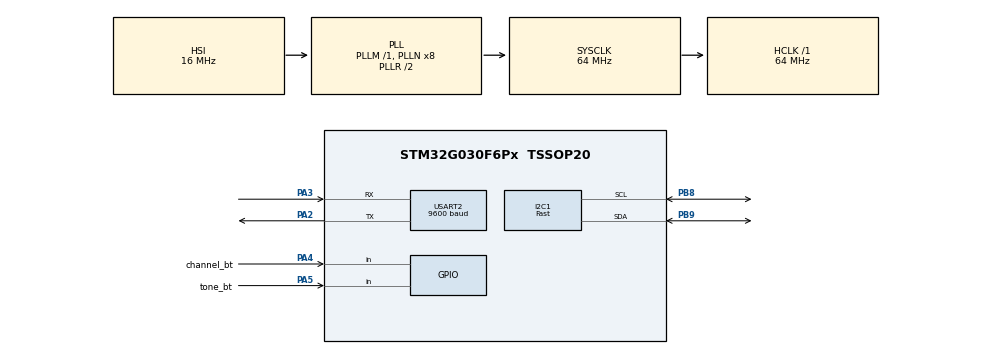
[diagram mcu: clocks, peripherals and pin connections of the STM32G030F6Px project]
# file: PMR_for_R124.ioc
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Dma.I2C1_TX.1.Direction=DMA_MEMORY_TO_PERIPH
Dma.I2C1_TX.1.EventEnable=DISABLE
Dma.I2C1_TX.1.Instance=DMA1_Channel2
Dma.I2C1_TX.1.MemDataAlignment=DMA_MDATAALIGN_BYTE
Dma.I2C1_TX.1.MemInc=DMA_MINC_ENABLE
Dma.I2C1_TX.1.Mode=DMA_NORMAL
Dma.I2C1_TX.1.PeriphDataAlignment=DMA_PDATAALIGN_BYTE
Dma.I2C1_TX.1.PeriphInc=DMA_PINC_DISABLE
Dma.I2C1_TX.1.Polarity=HAL_DMAMUX_REQ_GEN_RISING
Dma.I2C1_TX.1.Priority=DMA_PRIORITY_LOW
Dma.I2C1_TX.1.RequestNumber=1
Dma.I2C1_TX.1.SignalID=NONE
Dma.I2C1_TX.1.SyncEnable=DISABLE
Dma.I2C1_TX.1.SyncPolarity=HAL_DMAMUX_SYNC_NO_EVENT
Dma.I2C1_TX.1.SyncRequestNumber=1
Dma.I2C1_TX.1.SyncSignalID=NONE
Dma.Request0=USART2_TX
Dma.Request1=I2C1_TX
Dma.USART2_TX.0.Direction=DMA_MEMORY_TO_PERIPH
Dma.USART2_TX.0.EventEnable=DISABLE
Dma.USART2_TX.0.Instance=DMA1_Channel1
Dma.USART2_TX.0.MemDataAlignment=DMA_MDATAALIGN_BYTE
Dma.USART2_TX.0.MemInc=DMA_MINC_ENABLE
Dma.USART2_TX.0.Mode=DMA_NORMAL
Dma.USART2_TX.0.PeriphDataAlignment=DMA_PDATAALIGN_BYTE
Dma.USART2_TX.0.PeriphInc=DMA_PINC_DISABLE
Dma.USART2_TX.0.Polarity=HAL_DMAMUX_REQ_GEN_RISING
Dma.USART2_TX.0.Priority=DMA_PRIORITY_LOW
Dma.USART2_TX.0.RequestNumber=1
Dma.USART2_TX.0.SignalID=NONE
Dma.USART2_TX.0.SyncEnable=DISABLE
Dma.USART2_TX.0.SyncPolarity=HAL_DMAMUX_SYNC_NO_EVENT
Dma.USART2_TX.0.SyncRequestNumber=1
Dma.USART2_TX.0.SyncSignalID=NONE
I2C1.I2C_Speed_Mode=I2C_Fast
I2C1.Timing=0x00602173
Mcu.Family=STM32G0
Mcu.Name=STM32G030F6Px
Mcu.Package=TSSOP20
NVIC.DMA1_Channel1_IRQn=true\:0\:0\:false\:false\:true\:false\:true\:true
NVIC.DMA1_Channel2_3_IRQn=true\:0\:0\:false\:false\:true\:false\:true\:true
NVIC.I2C1_IRQn=true\:0\:0\:false\:false\:true\:true\:true\:true
NVIC.USART2_IRQn=true\:0\:0\:false\:false\:true\:true\:true\:true
PA13.Mode=Serial_Wire
PA13.Signal=SYS_SWDIO
PA14-BOOT0.Mode=Serial_Wire
PA14-BOOT0.Signal=SYS_SWCLK
PA14-BOOT0__PA15.StandardMode=true
PA2.Mode=Asynchronous
PA2.Signal=USART2_TX
PA3.Mode=Asynchronous
PA3.Signal=USART2_RX
PA4.GPIO_Label=channel_bt
PA4.Signal=GPIO_Input
PA5.GPIO_Label=tone_bt
PA5.Signal=GPIO_Input
PB0__PB1__PB2__PA8.StandardMode=true
PB3__PB4__PB5__PB6.StandardMode=true
PB7__PB8.StandardMode=true
PB8.Mode=I2C
PB8.Signal=I2C1_SCL
PB9.Mode=I2C
PB9.Signal=I2C1_SDA
PC14-OSC32_IN\ (PC14)__PB9.StandardMode=true
ProjectManager.HeapSize=0x200
ProjectManager.StackSize=0x400
ProjectManager.TargetToolchain=STM32CubeIDE
RCC.ADCFreq_Value=64000000
RCC.AHBFreq_Value=64000000
RCC.CortexFreq_Value=64000000
RCC.EXTERNAL_CLOCK_VALUE=12288000
RCC.HCLKFreq_Value=64000000
RCC.HSE_VALUE=8000000
RCC.HSI_VALUE=16000000
RCC.LSE_VALUE=32768
RCC.SYSCLKFreq_VALUE=64000000
RCC.SYSCLKSource=RCC_SYSCLKSOURCE_PLLCLK
RCC.VCOOutputFreq_Value=128000000
TIM3.Channel-Output\ Compare1\ No\ Output=TIM_CHANNEL_1
TIM3.Pulse-Output\ Compare1\ No\ Output=10000
USART2.BaudRate=9600
USART2.VirtualMode-Asynchronous=VM_ASYNC
VP_TIM3_VS_no_output1.Mode=Output Compare1 No Output
board=custom

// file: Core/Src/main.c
/* USER CODE BEGIN Header */
/**
 ******************************************************************************
 * @file           : main.c
 * @brief          : Main program body
 ******************************************************************************
 * @attention
 *
 * Copyright (c) 2023 STMicroelectronics.
 * All rights reserved.
 *
 * This software is licensed under terms that can be found in the LICENSE file
 * in the root directory of this software component.
 * If no LICENSE file comes with this software, it is provided AS-IS.
 *
 ******************************************************************************
 */
/* USER CODE END Header */
#include "main.h"

/* USER CODE BEGIN Includes */
#include <string.h>
/* USER CODE END Includes */

/* USER CODE BEGIN PD */
#define DISPLAY 0X74

/* USER CODE END PD */

I2C_HandleTypeDef hi2c1;
DMA_HandleTypeDef hdma_i2c1_tx;

TIM_HandleTypeDef htim3;

UART_HandleTypeDef huart2;
DMA_HandleTypeDef hdma_usart2_tx;

/* USER CODE BEGIN PV */
uint8_t uart_txdata[48] = "AT+DMOSETGROUP=0,000.0000,000.0000,0000,1,0000\r\n";
uint8_t i2ctxBuff[8];
/* USER CODE END PV */

void SystemClock_Config(void);
static void MX_GPIO_Init(void);
static void MX_DMA_Init(void);
static void MX_I2C1_Init(void);
static void MX_TIM3_Init(void);
static void MX_USART2_UART_Init(void);
/* USER CODE BEGIN PFP */
void InitDisplay(uint16_t address);
void WriteDisplay(uint16_t address, uint8_t number, uint8_t channel,
		uint8_t tone);
uint8_t NumToDig(uint8_t number);
void channel2freq(uint8_t ch, uint8_t *buff);
void SetGroup(uint8_t channel, uint8_t tone);
void SetVolume(uint8_t volume);
void SetFilter(uint8_t emph, uint8_t highpass, uint8_t lowpass);
/* USER CODE END PFP */

int main(void)
{

  /* MCU Configuration--------------------------------------------------------*/

  /* Reset of all peripherals, Initializes the Flash interface and the Systick. */
  HAL_Init();

  /* Configure the system clock */
  SystemClock_Config();

  /* Initialize all configured peripherals */
  MX_GPIO_Init();
  MX_DMA_Init();
  MX_I2C1_Init();
  MX_TIM3_Init();
  MX_USART2_UART_Init();
  /* USER CODE BEGIN 2 */
	uint8_t channel = 4; // Default value
	uint8_t tone = 25; // Default value
	uint16_t show = 0;
	uint8_t debounce = 0;

	InitDisplay(DISPLAY);
	HAL_Delay(1000);
	uint8_t txdata[16] = "AT+DMOCONNECT\r\n";
	HAL_UART_Transmit(&huart2, txdata, 15, 1000);

	HAL_Delay(1000);
	SetGroup(channel, tone);

	HAL_Delay(500);
	uint8_t txdata3[19] = "AT+DMOSETVOLUME=8\r\n";
	HAL_UART_Transmit(&huart2, txdata3, 19, 1000);
  /* USER CODE END 2 */

  /* Infinite loop */
  /* USER CODE BEGIN WHILE */
	while (1) {
		// Debounce button
		if (HAL_GPIO_ReadPin(channel_bt_GPIO_Port, channel_bt_Pin)
				& HAL_GPIO_ReadPin(tone_bt_GPIO_Port, tone_bt_Pin)
				& (debounce != 0))
			debounce -= 1;
		// Display write
		if (show == 0) {
			WriteDisplay(DISPLAY, channel, 1, 0);
		}
		if (show == 100){
			WriteDisplay(DISPLAY, tone, 0, 1);
		}
		show += 1;
		if (show > 200) {
			show = 0;
		}
		// Zaznam z tlacitek
		if (debounce == 0) {
			if (HAL_GPIO_ReadPin(channel_bt_GPIO_Port, channel_bt_Pin) == 0) {
				channel += 1;
				show = 0;
				if (channel > 16)
					channel = 1;
				debounce = 10;
			}
			if (HAL_GPIO_ReadPin(tone_bt_GPIO_Port, tone_bt_Pin) == 0) {
				tone += 1;
				show = 100;
				if (tone > 64)
					tone = 0;
				debounce = 10;
			}
		}
		// write settings to SA818
		if (debounce == 1)
			SetGroup(channel, tone);
		HAL_Delay(10);

    /* USER CODE END WHILE */

	}
}

void SystemClock_Config(void)
{
  RCC_OscInitTypeDef RCC_OscInitStruct = {0};
  RCC_ClkInitTypeDef RCC_ClkInitStruct = {0};

  /** Configure the main internal regulator output voltage
  */
  HAL_PWREx_ControlVoltageScaling(PWR_REGULATOR_VOLTAGE_SCALE1);

  /** Initializes the RCC Oscillators according to the specified parameters
  * in the RCC_OscInitTypeDef structure.
  */
  RCC_OscInitStruct.OscillatorType = RCC_OSCILLATORTYPE_HSI;
  RCC_OscInitStruct.HSIState = RCC_HSI_ON;
  RCC_OscInitStruct.HSIDiv = RCC_HSI_DIV1;
  RCC_OscInitStruct.HSICalibrationValue = RCC_HSICALIBRATION_DEFAULT;
  RCC_OscInitStruct.PLL.PLLState = RCC_PLL_ON;
  RCC_OscInitStruct.PLL.PLLSource = RCC_PLLSOURCE_HSI;
  RCC_OscInitStruct.PLL.PLLM = RCC_PLLM_DIV1;
  RCC_OscInitStruct.PLL.PLLN = 8;
  RCC_OscInitStruct.PLL.PLLP = RCC_PLLP_DIV2;
  RCC_OscInitStruct.PLL.PLLR = RCC_PLLR_DIV2;
  if (HAL_RCC_OscConfig(&RCC_OscInitStruct) != HAL_OK)
  {
    Error_Handler();
  }

  /** Initializes the CPU, AHB and APB buses clocks
  */
  RCC_ClkInitStruct.ClockType = RCC_CLOCKTYPE_HCLK|RCC_CLOCKTYPE_SYSCLK
                              |RCC_CLOCKTYPE_PCLK1;
  RCC_ClkInitStruct.SYSCLKSource = RCC_SYSCLKSOURCE_PLLCLK;
  RCC_ClkInitStruct.AHBCLKDivider = RCC_SYSCLK_DIV1;
  RCC_ClkInitStruct.APB1CLKDivider = RCC_HCLK_DIV1;

  if (HAL_RCC_ClockConfig(&RCC_ClkInitStruct, FLASH_LATENCY_2) != HAL_OK)
  {
    Error_Handler();
  }
}

static void MX_I2C1_Init(void)
{

  hi2c1.Instance = I2C1;
  hi2c1.Init.Timing = 0x00602173;
  hi2c1.Init.OwnAddress1 = 0;
  hi2c1.Init.AddressingMode = I2C_ADDRESSINGMODE_7BIT;
  hi2c1.Init.DualAddressMode = I2C_DUALADDRESS_DISABLE;
  hi2c1.Init.OwnAddress2 = 0;
  hi2c1.Init.OwnAddress2Masks = I2C_OA2_NOMASK;
  hi2c1.Init.GeneralCallMode = I2C_GENERALCALL_DISABLE;
  hi2c1.Init.NoStretchMode = I2C_NOSTRETCH_DISABLE;
  if (HAL_I2C_Init(&hi2c1) != HAL_OK)
  {
    Error_Handler();
  }

  /** Configure Analogue filter
  */
  if (HAL_I2CEx_ConfigAnalogFilter(&hi2c1, I2C_ANALOGFILTER_ENABLE) != HAL_OK)
  {
    Error_Handler();
  }

  /** Configure Digital filter
  */
  if (HAL_I2CEx_ConfigDigitalFilter(&hi2c1, 0) != HAL_OK)
  {
    Error_Handler();
  }

}

static void MX_TIM3_Init(void)
{

  TIM_MasterConfigTypeDef sMasterConfig = {0};
  TIM_OC_InitTypeDef sConfigOC = {0};

  htim3.Instance = TIM3;
  htim3.Init.Prescaler = 0;
  htim3.Init.CounterMode = TIM_COUNTERMODE_UP;
  htim3.Init.Period = 65535;
  htim3.Init.ClockDivision = TIM_CLOCKDIVISION_DIV1;
  htim3.Init.AutoReloadPreload = TIM_AUTORELOAD_PRELOAD_DISABLE;
  if (HAL_TIM_OC_Init(&htim3) != HAL_OK)
  {
    Error_Handler();
  }
  sMasterConfig.MasterOutputTrigger = TIM_TRGO_RESET;
  sMasterConfig.MasterSlaveMode = TIM_MASTERSLAVEMODE_DISABLE;
  if (HAL_TIMEx_MasterConfigSynchronization(&htim3, &sMasterConfig) != HAL_OK)
  {
    Error_Handler();
  }
  sConfigOC.OCMode = TIM_OCMODE_TIMING;
  sConfigOC.Pulse = 10000;
  sConfigOC.OCPolarity = TIM_OCPOLARITY_HIGH;
  sConfigOC.OCFastMode = TIM_OCFAST_DISABLE;
  if (HAL_TIM_OC_ConfigChannel(&htim3, &sConfigOC, TIM_CHANNEL_1) != HAL_OK)
  {
    Error_Handler();
  }

}

static void MX_USART2_UART_Init(void)
{

  huart2.Instance = USART2;
  huart2.Init.BaudRate = 9600;
  huart2.Init.WordLength = UART_WORDLENGTH_8B;
  huart2.Init.StopBits = UART_STOPBITS_1;
  huart2.Init.Parity = UART_PARITY_NONE;
  huart2.Init.Mode = UART_MODE_TX_RX;
  huart2.Init.HwFlowCtl = UART_HWCONTROL_NONE;
  huart2.Init.OverSampling = UART_OVERSAMPLING_16;
  huart2.Init.OneBitSampling = UART_ONE_BIT_SAMPLE_DISABLE;
  huart2.Init.ClockPrescaler = UART_PRESCALER_DIV1;
  huart2.AdvancedInit.AdvFeatureInit = UART_ADVFEATURE_NO_INIT;
  if (HAL_UART_Init(&huart2) != HAL_OK)
  {
    Error_Handler();
  }

}

static void MX_DMA_Init(void)
{

  /* DMA controller clock enable */
  __HAL_RCC_DMA1_CLK_ENABLE();

  /* DMA interrupt init */
  /* DMA1_Channel1_IRQn interrupt configuration */
  HAL_NVIC_SetPriority(DMA1_Channel1_IRQn, 0, 0);
  HAL_NVIC_EnableIRQ(DMA1_Channel1_IRQn);
  /* DMA1_Channel2_3_IRQn interrupt configuration */
  HAL_NVIC_SetPriority(DMA1_Channel2_3_IRQn, 0, 0);
  HAL_NVIC_EnableIRQ(DMA1_Channel2_3_IRQn);

}

static void MX_GPIO_Init(void)
{
  GPIO_InitTypeDef GPIO_InitStruct = {0};

  /* GPIO Ports Clock Enable */
  __HAL_RCC_GPIOB_CLK_ENABLE();
  __HAL_RCC_GPIOA_CLK_ENABLE();

  /*Configure GPIO pins : channel_bt_Pin tone_bt_Pin */
  GPIO_InitStruct.Pin = channel_bt_Pin|tone_bt_Pin;
  GPIO_InitStruct.Mode = GPIO_MODE_INPUT;
  GPIO_InitStruct.Pull = GPIO_NOPULL;
  HAL_GPIO_Init(GPIOA, &GPIO_InitStruct);

}

/* USER CODE BEGIN 4 */
uint8_t NumToDig(uint8_t number) {
	uint8_t symbol = 0;
	switch (number) {
	case 0:
		symbol = 0b00111111;
		break;
	case 1:
		symbol = 0b00000110;
		break;
	case 2:
		symbol = 0b01011011;
		break;
	case 3:
		symbol = 0b01001111;
		break;
	case 4:
		symbol = 0b01100110;
		break;
	case 5:
		symbol = 0b01101101;
		break;
	case 6:
		symbol = 0b01111101;
		break;
	case 7:
		symbol = 0b00000111;
		break;
	case 8:
		symbol = 0b01111111;
		break;
	case 9:
		symbol = 0b01101111;
		break;
	case 10:
		symbol = 0b01110111; //A
		break;
	case 11:
		symbol = 0b01111100; //B
		break;
	case 12:
		symbol = 0b00111001; //C
		break;
	case 13:
		symbol = 0b01011110; //D
		break;
	case 14:
		symbol = 0b01111001; //E
		break;
	case 15:
		symbol = 0b01110001; //F
		break;
	}
	return symbol;
}

void channel2freq(uint8_t ch, uint8_t *buff) {
	static char freq[8];
	switch (ch) {
	case 1:
		memcpy(freq, "446.0062", 8);
		break;
	case 2:
		memcpy(freq, "446.0187", 8);
		break;
	case 3:
		memcpy(freq, "446.0312", 8);
		break;
	case 4:
		memcpy(freq, "446.0437", 8);
		break;
	case 5:
		memcpy(freq, "446.0562", 8);
		break;
	case 6:
		memcpy(freq, "446.0687", 8);
		break;
	case 7:
		memcpy(freq, "446.0812", 8);
		break;
	case 8:
		memcpy(freq, "446.0937", 8);
		break;
	case 9:
		memcpy(freq, "446.1062", 8);
		break;
	case 10:
		memcpy(freq, "446.1187", 8);
		break;
	case 11:
		memcpy(freq, "446.1312", 8);
		break;
	case 12:
		memcpy(freq, "446.1437", 8);
		break;
	case 13:
		memcpy(freq, "446.1562", 8);
		break;
	case 14:
		memcpy(freq, "446.1687", 8);
		break;
	case 15:
		memcpy(freq, "446.1812", 8);
		break;
	case 16:
		memcpy(freq, "446.1937", 8);
		break;
	}
	memmove(buff, freq, sizeof(freq));
}

void InitDisplay(uint16_t address) {
//	uint8_t i2ctxBuff[8];
	while (HAL_I2C_GetState(&hi2c1) != HAL_I2C_STATE_READY)
		HAL_Delay(1);
	i2ctxBuff[0] = 0x07;
	i2ctxBuff[1] = 0x00;

//	HAL_I2C_Master_Transmit(&hi2c1, address << 1, i2ctxBuff, 2, 100);
	HAL_I2C_Master_Transmit_DMA(&hi2c1, address << 1, i2ctxBuff, 2);
	HAL_Delay(1);
	i2ctxBuff[0] = 0x06;
	i2ctxBuff[1] = 0x00;
	while (HAL_I2C_GetState(&hi2c1) != HAL_I2C_STATE_READY)
		HAL_Delay(1);
//	HAL_I2C_Master_Transmit(&hi2c1, address << 1, i2ctxBuff, 2, 100);
	HAL_I2C_Master_Transmit_DMA(&hi2c1, address << 1, i2ctxBuff, 2);
	HAL_Delay(1);
}

void WriteDisplay(uint16_t address, uint8_t number, uint8_t channel,
		uint8_t tone) {
	while (HAL_I2C_GetState(&hi2c1) != HAL_I2C_STATE_READY)
		HAL_Delay(1);
	if (number > 99)
		number = 99;
	uint8_t digit1 = number % 10;
	uint8_t digit2 = number / 10;
	uint8_t symbol = NumToDig(digit1);

	symbol = symbol | tone << 7;
	symbol = ~symbol;

	i2ctxBuff[0] = 0x03;
	i2ctxBuff[1] = symbol;
	while (HAL_I2C_GetState(&hi2c1) != HAL_I2C_STATE_READY)
		HAL_Delay(1);
//	HAL_I2C_Master_Transmit(&hi2c1, address << 1, i2ctxBuff, 2, 100);
	HAL_I2C_Master_Transmit_DMA(&hi2c1, address << 1, i2ctxBuff, 2);
	HAL_Delay(1);

	symbol = NumToDig(digit2);

	symbol = symbol | channel << 7;
	symbol = ~symbol;

	i2ctxBuff[0] = 0x02;
	i2ctxBuff[1] = symbol;
	while (HAL_I2C_GetState(&hi2c1) != HAL_I2C_STATE_READY)
		HAL_Delay(1);
//	HAL_I2C_Master_Transmit(&hi2c1, address << 1, i2ctxBuff, 2, 100);
	HAL_I2C_Master_Transmit_DMA(&hi2c1, address << 1, i2ctxBuff, 2);
	HAL_Delay(1);
}

void SetGroup(uint8_t channel, uint8_t tone) {
	if (tone > 38)
		tone = 38;
	uint8_t tone_d1 = tone % 10 + '0';
	uint8_t tone_d2 = tone / 10 + '0';

	uart_txdata[44] = tone_d2;
	uart_txdata[45] = tone_d1;
	uart_txdata[37] = tone_d2;
	uart_txdata[38] = tone_d1;

	channel2freq(channel, &uart_txdata[17]);
	channel2freq(channel, &uart_txdata[26]);

	while (HAL_UART_GetState(&huart2) != HAL_UART_STATE_READY)
		HAL_Delay(1);
//	HAL_UART_Transmit(&huart2, txdata2, 48, 1000);

	HAL_UART_Transmit_DMA(&huart2, uart_txdata, 48);
}

/* USER CODE END 4 */

void Error_Handler(void)
{
	__disable_irq();
	while (1) {
	}
}
